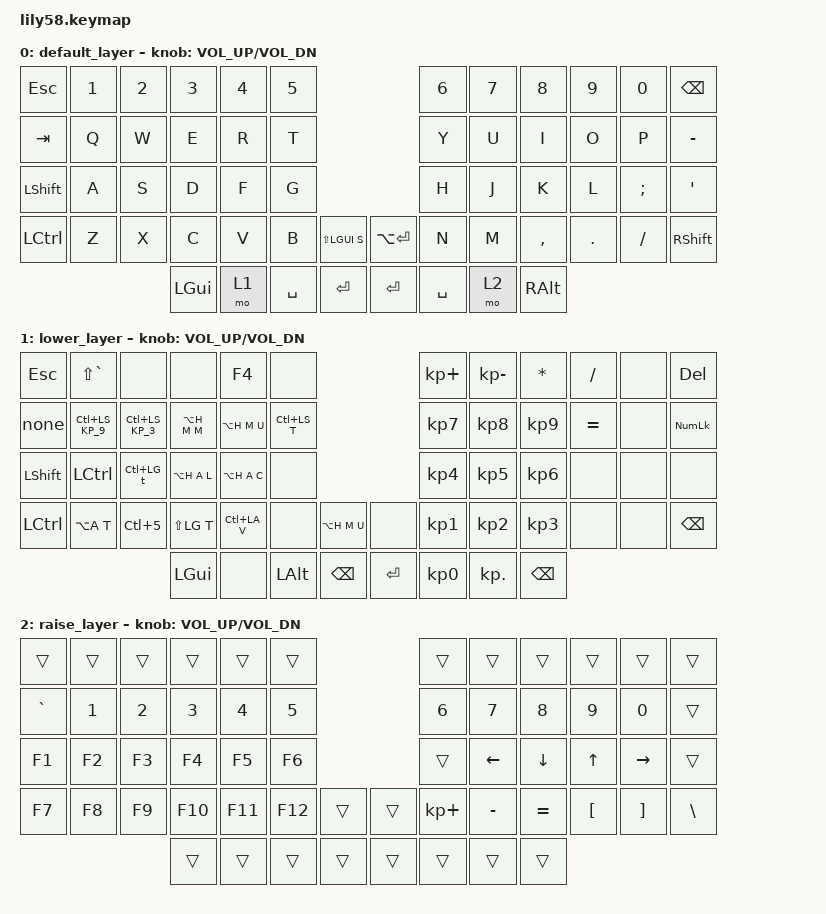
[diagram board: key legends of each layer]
/*
 * Copyright (c) 2020 The ZMK Contributors
 *
 * SPDX-License-Identifier: MIT
 */

#include <behaviors.dtsi>
#include <dt-bindings/zmk/keys.h>
#include <dt-bindings/zmk/bt.h>
#include <dt-bindings/zmk/ext_power.h>
#include <dt-bindings/zmk/outputs.h>

/ {
    keymap {
        compatible = "zmk,keymap";

        default_layer {
// ------------------------------------------------------------------------------------------------------------
// |  ESC  |  1  |  2  |  3   |  4   |  5   |                   |  6   |  7    |  8    |  9   |   0   |   `   |
// |  TAB  |  Q  |  W  |  E   |  R   |  T   |                   |  Y   |  U    |  I    |  O   |   P   |   -   |
// |  CTRL |  A  |  S  |  D   |  F   |  G   |                   |  H   |  J    |  K    |  L   |   ;   |   '   |
// | SHIFT |  Z  |  X  |  C   |  V   |  B   |   "["  |  |  "]"  |  N   |  M    |  ,    |  .   |   /   | SHIFT |
//                     | ALT  | GUI  | LOWER|  SPACE |  | ENTER | RAISE| BSPC  | GUI   |
//             bindings = <
// &kp ESC   &kp N1 &kp N2 &kp N3   &kp N4   &kp N5                     &kp N6 &kp N7   &kp N8    &kp N9  &kp N0   &kp GRAVE
// &kp TAB   &kp Q  &kp W  &kp E    &kp R    &kp T                      &kp Y  &kp U    &kp I     &kp O   &kp P    &kp MINUS
// &kp LCTRL &kp A  &kp S  &kp D    &kp F    &kp G                      &kp H  &kp J    &kp K     &kp L   &kp SEMI &kp SQT
// &kp LSHFT &kp Z  &kp X  &kp C    &kp V    &kp B  &kp LBKT   &kp RBKT &kp N  &kp M    &kp COMMA &kp DOT &kp FSLH &kp RSHFT
//                         &kp LALT &kp LGUI &mo 1  &kp SPACE  &kp RET  &mo 2  &kp BSPC &kp RGUI
//             >;
            bindings = <
&kp ESC   &kp N1   &kp N2 &kp N3    &kp N4   &kp N5                                 &kp N6    &kp N7   &kp N8    &kp N9  &kp N0   &kp BSPC
&kp TAB   &kp Q    &kp W  &kp E     &kp R    &kp T                                  &kp Y     &kp U    &kp I     &kp O   &kp P    &kp MINUS
&kp LSHFT &kp A    &kp S  &kp D     &kp F    &kp G                                  &kp H     &kp J    &kp K     &kp L   &kp SEMI &kp SQT
&kp LCTRL &kp Z    &kp X  &kp C     &kp V    &kp B     &kp LS(LGUI S)   &kp LA(RET) &kp N     &kp M    &kp COMMA &kp DOT &kp FSLH &kp RSHFT
                          &kp LGUI  &mo 1    &kp SPACE &kp RET          &kp RET     &kp SPACE &mo 2    &kp RALT
            >;

            sensor-bindings = <&inc_dec_kp C_VOL_UP C_VOL_DN>;
        };

        lower_layer {
// ------------------------------------------------------------------------------------------------------------
// | BTCLR | BT1 | BT2 |  BT3 |  BT4 |  BT5 |                   |      |       |       |      |       |       |
// |  F1   |  F2 |  F3 |  F4  |  F5  |  F6  |                   |  F7  |  F8   |  F9   |  F10 |  F11  |  F12  |
// |   `   |  !  |  @  |  #   |  $   |  %   |                   |  ^   |  &    |  *    |  (   |   )   |   ~   |
// |       |     |     |      |      |      |        |  |       |      |  _    |  +    |  {   |   }   |  "|"  |
//                     |      |      |      |        |  |       |      |       |       |
//             bindings = <
// &bt BT_CLR &bt BT_SEL 0     &bt BT_SEL 1      &bt BT_SEL 2      &bt BT_SEL 3 &bt BT_SEL 4                       &trans    &trans    &trans    &trans    &trans    &trans
// &kp F1     &kp F2           &kp F3            &kp F4            &kp F5       &kp F6                             &kp F7    &kp F8    &kp F9    &kp F10   &kp F11   &kp F12
// &kp GRAVE  &kp EXCL         &kp AT            &kp HASH          &kp DOLLAR   &kp PRCNT                          &kp CARET &kp AMPS  &kp ASTRK &kp LPAR  &kp RPAR  &kp TILDE
// &trans     &ext_power EP_ON &ext_power EP_OFF &ext_power EP_TOG &out OUT_USB &out OUT_BLE &out OUT_TOG   &trans    &trans    &kp MINUS &kp PLUS  &kp LBRC  &kp RBRC  &kp PIPE
//                                               &trans            &trans       &trans    &trans         &trans    &trans    &trans    &trans
//             >;
            bindings = <
&kp ESC    &kp LS(GRAVE)    &none             &none             &kp F4          &none                                     &kp KP_PLUS  &kp KP_MINUS   &kp ASTRK  &kp FSLH    &none      &kp DEL 
&kp none   &kp LC(LS KP_9)  &kp LC(LS KP_3)   &kp LA(H M M)     &kp LA(H M U)   &kp LC(LS T)                              &kp KP_7     &kp KP_8       &kp KP_9   &kp EQUAL   &none      &kp KP_NLCK  
&kp LSHFT  &kp LCTRL        &kp LC(LG t)      &kp LA(H A L)     &kp LA(H A C)   &none                                     &kp KP_4     &kp KP_5       &kp KP_6   &none       &none      &none    
&kp LCTRL  &kp LA(A T)      &kp LC(N5)        &kp LS(LG T)      &kp LC(LA V)    &none         &kp LA(H M U)     &none     &kp KP_1     &kp KP_2       &kp KP_3   &none       &none      &kp BSPC   
                                              &kp LGUI          &none           &kp LALT      &kp BSPC          &kp RET   &kp KP_0     &kp KP_DOT     &kp BSPC
            >;

            sensor-bindings = <&inc_dec_kp C_VOL_UP C_VOL_DN>;
        };

        raise_layer {
// ------------------------------------------------------------------------------------------------------------
// |       |     |     |      |      |      |                   |      |       |       |      |       |       |
// |   `   |  1  |  2  |  3   |  4   |  5   |                   |  6   |   7   |   8   |  9   |   0   |       |
// |   F1  |  F2 |  F3 |  F4  |  F5  |  F6  |                   |      |   <-  |   v   |  ^   |  ->   |       |
// |   F7  |  F8 |  F9 |  F10 |  F11 |  F12 |        |  |       |  +   |   -   |   =   |  [   |   ]   |   \   |
//                     |      |      |      |        |  |       |      |       |       |
//             bindings = <
// &trans    &trans &trans &trans  &trans  &trans                       &trans      &trans    &trans    &trans   &trans    &trans
// &kp GRAVE &kp N1 &kp N2 &kp N3  &kp N4  &kp N5                       &kp N6      &kp N7    &kp N8    &kp N9   &kp N0    &trans
// &kp F1    &kp F2 &kp F3 &kp F4  &kp F5  &kp F6                       &trans      &kp LEFT  &kp DOWN  &kp UP   &kp RIGHT &trans
// &kp F7    &kp F8 &kp F9 &kp F10 &kp F11 &kp F12   &trans   &trans    &kp KP_PLUS &kp MINUS &kp EQUAL &kp LBKT &kp RBKT  &kp BSLH
//                         &trans  &trans  &trans    &trans   &trans    &trans      &trans    &trans
//             >;
            bindings = <
&trans    &trans &trans &trans  &trans  &trans                       &trans      &trans    &trans    &trans   &trans    &trans
&kp GRAVE &kp N1 &kp N2 &kp N3  &kp N4  &kp N5                       &kp N6      &kp N7    &kp N8    &kp N9   &kp N0    &trans
&kp F1    &kp F2 &kp F3 &kp F4  &kp F5  &kp F6                       &trans      &kp LEFT  &kp DOWN  &kp UP   &kp RIGHT &trans
&kp F7    &kp F8 &kp F9 &kp F10 &kp F11 &kp F12   &trans   &trans    &kp KP_PLUS &kp MINUS &kp EQUAL &kp LBKT &kp RBKT  &kp BSLH
                        &trans  &trans  &trans    &trans   &trans    &trans      &trans    &trans
            >;

            sensor-bindings = <&inc_dec_kp C_VOL_UP C_VOL_DN>;
        };
    };
};
